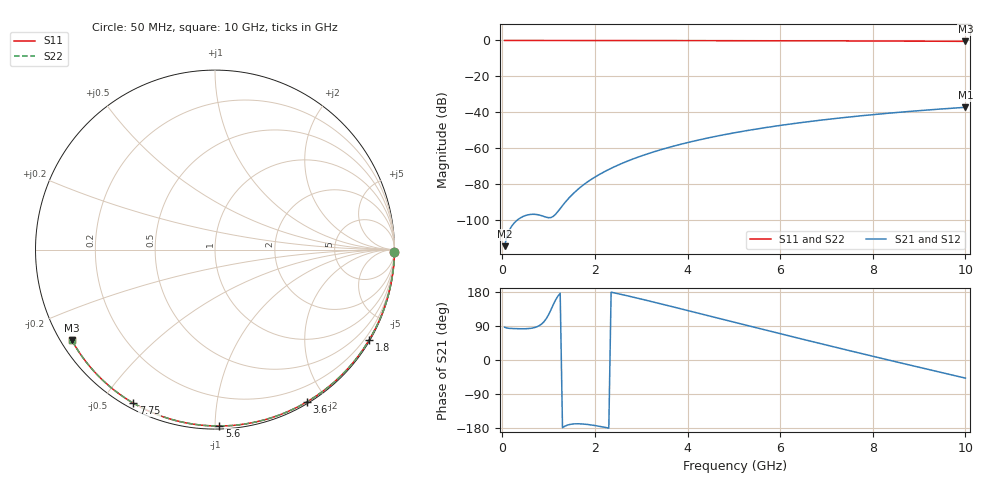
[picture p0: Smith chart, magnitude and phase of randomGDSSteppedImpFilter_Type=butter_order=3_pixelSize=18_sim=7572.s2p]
! freq	dB(S11)	phase(S11)	dB(S12)	phase(S12)
!  dB(S21)	phase(S21)	dB(S22)	phase(S22)
!S-par simulation data
#  GHz  S  DB  R 50
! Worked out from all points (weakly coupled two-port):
!   200 points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, 50 MHz to 10 GHz, reference 50 ohm
!   highest |S21| = -37.24 dB at 10 GHz (marker M1); lowest = -114.6 dB at 50 MHz (marker M2)
!   lowest |S11| = -0.5 dB at 10 GHz (marker M3), VSWR 34.66, Z = 1.56 - j14.4 ohm
!   |S11| at or under -10 dB: nowhere
!   |S22| runs from -0.5 to 0.0 dB; largest |S21 - S12| = 0
!   S11 on the Smith chart (normalised r, x): 50 MHz: open; 1.8 GHz: 0.03, -3.70; 3.6 GHz: 0.02, -1.77; 5.6 GHz: 0.02, -1.03; 7.75 GHz: 0.02, -0.60; 10 GHz: 0.03, -0.29
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0.05  -0.00 -0.9  -114.58 86.4  -114.58 86.4  -0.00 -0.9
0.45  -0.01 -7.7  -98.02 82.3  -98.02 82.3  -0.01 -7.7
0.9  -0.02 -15.3  -98.04 101.0  -98.04 101.0  -0.02 -15.3
1.75  -0.04 -29.4  -80.48 -169.0  -80.48 -169.0  -0.04 -29.4
1.8  -0.04 -30.2  -79.51 -169.5  -79.51 -169.5  -0.04 -30.2
1.95  -0.04 -32.7  -76.89 -171.9  -76.89 -171.9  -0.04 -32.7
2.1  -0.04 -35.1  -74.58 -175.0  -74.58 -175.0  -0.04 -35.1
2.3  -0.05 -38.4  -71.84 -179.8  -71.84 -179.8  -0.05 -38.4
2.5  -0.05 -41.6  -69.41 175.0  -69.41 175.0  -0.05 -41.6
2.9  -0.06 -48.0  -65.27 163.7  -65.27 163.7  -0.06 -48.0
3.4  -0.07 -55.8  -61.02 148.9  -61.02 148.9  -0.07 -55.8
3.6  -0.08 -58.9  -59.54 142.9  -59.54 142.9  -0.08 -58.9
4.3  -0.10 -69.6  -55.09 121.5  -55.09 121.5  -0.10 -69.6
5.05  -0.12 -80.7  -51.25 98.4  -51.25 98.4  -0.12 -80.7
5.6  -0.15 -88.6  -48.87 81.6  -48.87 81.6  -0.15 -88.6
6.15  -0.17 -96.3  -46.79 64.9  -46.79 64.9  -0.17 -96.3
6.7  -0.20 -103.9  -44.94 48.4  -44.94 48.4  -0.20 -103.9
7.2  -0.23 -110.7  -43.44 33.4  -43.44 33.4  -0.23 -110.7
7.75  -0.27 -118.0  -41.95 17.2  -41.95 17.2  -0.27 -118.0
8.35  -0.32 -126.0  -40.50 -0.4  -40.50 -0.4  -0.32 -126.0
9.2  -0.41 -137.2  -38.69 -24.9  -38.69 -24.9  -0.41 -137.2
10  -0.50 -147.8  -37.24 -47.8  -37.24 -47.8  -0.50 -147.8
